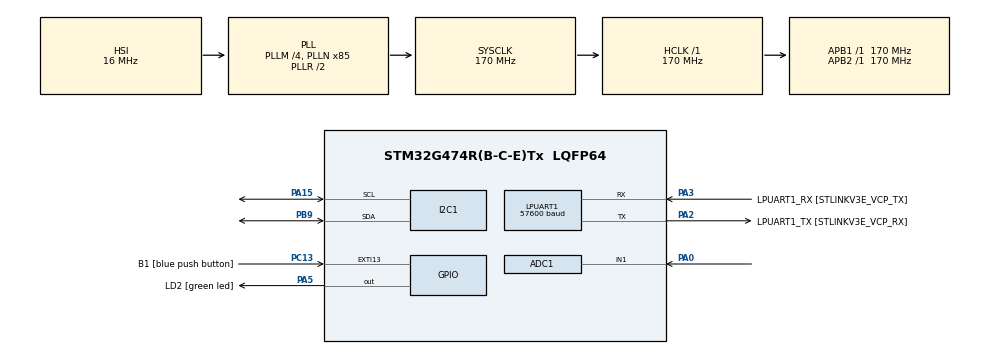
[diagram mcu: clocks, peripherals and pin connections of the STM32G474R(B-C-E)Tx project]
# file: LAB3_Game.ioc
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ADC1.Channel-0\#ChannelRegularConversion=ADC_CHANNEL_1
ADC1.Channel-1\#ChannelRegularConversion=ADC_CHANNEL_1
ADC1.ContinuousConvMode=ENABLE
ADC1.DMAContinuousRequests=ENABLE
ADC1.NbrOfConversion=2
ADC1.NbrOfConversionFlag=1
ADC1.OffsetNumber-0\#ChannelRegularConversion=ADC_OFFSET_NONE
ADC1.OffsetNumber-1\#ChannelRegularConversion=ADC_OFFSET_NONE
ADC1.Rank-0\#ChannelRegularConversion=1
ADC1.Rank-1\#ChannelRegularConversion=2
ADC1.SamplingTime-0\#ChannelRegularConversion=ADC_SAMPLETIME_2CYCLES_5
ADC1.SamplingTime-1\#ChannelRegularConversion=ADC_SAMPLETIME_2CYCLES_5
ADC1.master=1
Dma.ADC1.0.Direction=DMA_PERIPH_TO_MEMORY
Dma.ADC1.0.EventEnable=DISABLE
Dma.ADC1.0.Instance=DMA1_Channel3
Dma.ADC1.0.MemDataAlignment=DMA_MDATAALIGN_HALFWORD
Dma.ADC1.0.MemInc=DMA_MINC_ENABLE
Dma.ADC1.0.Mode=DMA_CIRCULAR
Dma.ADC1.0.PeriphDataAlignment=DMA_PDATAALIGN_HALFWORD
Dma.ADC1.0.PeriphInc=DMA_PINC_DISABLE
Dma.ADC1.0.Polarity=HAL_DMAMUX_REQ_GEN_RISING
Dma.ADC1.0.Priority=DMA_PRIORITY_LOW
Dma.ADC1.0.RequestNumber=1
Dma.ADC1.0.SignalID=NONE
Dma.ADC1.0.SyncEnable=DISABLE
Dma.ADC1.0.SyncPolarity=HAL_DMAMUX_SYNC_NO_EVENT
Dma.ADC1.0.SyncRequestNumber=1
Dma.ADC1.0.SyncSignalID=NONE
Dma.I2C1_RX.1.Direction=DMA_PERIPH_TO_MEMORY
Dma.I2C1_RX.1.EventEnable=DISABLE
Dma.I2C1_RX.1.Instance=DMA1_Channel1
Dma.I2C1_RX.1.MemDataAlignment=DMA_MDATAALIGN_BYTE
Dma.I2C1_RX.1.MemInc=DMA_MINC_ENABLE
Dma.I2C1_RX.1.Mode=DMA_NORMAL
Dma.I2C1_RX.1.PeriphDataAlignment=DMA_PDATAALIGN_BYTE
Dma.I2C1_RX.1.PeriphInc=DMA_PINC_DISABLE
Dma.I2C1_RX.1.Polarity=HAL_DMAMUX_REQ_GEN_RISING
Dma.I2C1_RX.1.Priority=DMA_PRIORITY_LOW
Dma.I2C1_RX.1.RequestNumber=1
Dma.I2C1_RX.1.SignalID=NONE
Dma.I2C1_RX.1.SyncEnable=DISABLE
Dma.I2C1_RX.1.SyncPolarity=HAL_DMAMUX_SYNC_NO_EVENT
Dma.I2C1_RX.1.SyncRequestNumber=1
Dma.I2C1_RX.1.SyncSignalID=NONE
Dma.I2C1_TX.2.Direction=DMA_MEMORY_TO_PERIPH
Dma.I2C1_TX.2.EventEnable=DISABLE
Dma.I2C1_TX.2.Instance=DMA1_Channel2
Dma.I2C1_TX.2.MemDataAlignment=DMA_MDATAALIGN_BYTE
Dma.I2C1_TX.2.MemInc=DMA_MINC_ENABLE
Dma.I2C1_TX.2.Mode=DMA_NORMAL
Dma.I2C1_TX.2.PeriphDataAlignment=DMA_PDATAALIGN_BYTE
Dma.I2C1_TX.2.PeriphInc=DMA_PINC_DISABLE
Dma.I2C1_TX.2.Polarity=HAL_DMAMUX_REQ_GEN_RISING
Dma.I2C1_TX.2.Priority=DMA_PRIORITY_LOW
Dma.I2C1_TX.2.RequestNumber=1
Dma.I2C1_TX.2.SignalID=NONE
Dma.I2C1_TX.2.SyncEnable=DISABLE
Dma.I2C1_TX.2.SyncPolarity=HAL_DMAMUX_SYNC_NO_EVENT
Dma.I2C1_TX.2.SyncRequestNumber=1
Dma.I2C1_TX.2.SyncSignalID=NONE
Dma.Request0=ADC1
Dma.Request1=I2C1_RX
Dma.Request2=I2C1_TX
I2C1.Timing=0x30A0A7FB
LPUART1.BaudRate=57600
LPUART1.WordLength=UART_WORDLENGTH_8B
Mcu.Family=STM32G4
Mcu.Name=STM32G474R(B-C-E)Tx
Mcu.Package=LQFP64
NVIC.DMA1_Channel1_IRQn=true\:0\:0\:false\:false\:true\:false\:true\:true
NVIC.DMA1_Channel2_IRQn=true\:0\:0\:false\:false\:true\:false\:true\:true
NVIC.DMA1_Channel3_IRQn=true\:0\:0\:false\:false\:true\:false\:true\:true
NVIC.EXTI15_10_IRQn=true\:0\:0\:false\:false\:true\:true\:true\:true
NVIC.I2C1_ER_IRQn=true\:0\:0\:false\:false\:true\:true\:true\:true
NVIC.I2C1_EV_IRQn=true\:0\:0\:false\:false\:true\:true\:true\:true
NVIC.LPUART1_IRQn=true\:0\:0\:false\:false\:true\:true\:true\:true
NVIC.PriorityGroup=NVIC_PRIORITYGROUP_4
PA0.Mode=IN1-Single-Ended
PA0.Signal=ADC1_IN1
PA13.GPIO_Label=T_SWDIO
PA13.Mode=Serial_Wire
PA13.Signal=SYS_JTMS-SWDIO
PA14.GPIO_Label=T_SWCLK
PA14.Mode=Serial_Wire
PA14.Signal=SYS_JTCK-SWCLK
PA15.Mode=I2C
PA15.Signal=I2C1_SCL
PA2.GPIO_Label=LPUART1_TX [STLINKV3E_VCP_RX]
PA2.Mode=Asynchronous
PA2.Signal=LPUART1_TX
PA3.GPIO_Label=LPUART1_RX [STLINKV3E_VCP_TX]
PA3.Mode=Asynchronous
PA3.Signal=LPUART1_RX
PA5.GPIO_Label=LD2 [green led]
PA5.Signal=GPIO_Output
PB3.GPIO_Label=T_SWO
PB3.Signal=SYS_JTDO-SWO
PB9.Mode=I2C
PB9.Signal=I2C1_SDA
PC13.GPIO_Label=B1 [blue push button]
PC13.Signal=GPXTI13
PC14-OSC32_IN.Mode=LSE-External-Oscillator
PC14-OSC32_IN.Signal=RCC_OSC32_IN
PC15-OSC32_OUT.Mode=LSE-External-Oscillator
PC15-OSC32_OUT.Signal=RCC_OSC32_OUT
PF0-OSC_IN.Mode=HSE-External-Oscillator
PF0-OSC_IN.Signal=RCC_OSC_IN
PF1-OSC_OUT.Mode=HSE-External-Oscillator
PF1-OSC_OUT.Signal=RCC_OSC_OUT
ProjectManager.HeapSize=0x200
ProjectManager.StackSize=0x400
ProjectManager.TargetToolchain=STM32CubeIDE
RCC.ADC12Freq_Value=170000000
RCC.ADC345Freq_Value=170000000
RCC.AHBFreq_Value=170000000
RCC.APB1Freq_Value=170000000
RCC.APB1TimFreq_Value=170000000
RCC.APB2Freq_Value=170000000
RCC.APB2TimFreq_Value=170000000
RCC.CortexFreq_Value=170000000
RCC.EXTERNAL_CLOCK_VALUE=12288000
RCC.HCLKFreq_Value=170000000
RCC.HSE_VALUE=24000000
RCC.HSI48_VALUE=48000000
RCC.HSI_VALUE=16000000
RCC.PLLM=RCC_PLLM_DIV4
RCC.PLLN=85
RCC.RTCClockSelection=RCC_RTCCLKSOURCE_LSE
RCC.SYSCLKFreq_VALUE=170000000
RCC.SYSCLKSource=RCC_SYSCLKSOURCE_PLLCLK
RCC.USBFreq_Value=170000000
RCC.VCOOutputFreq_Value=340000000
VP_SYS_VS_DBSignals.Mode=DisableDeadBatterySignals
board=NUCLEO-G474RE

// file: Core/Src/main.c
/* USER CODE BEGIN Header */
/**
  ******************************************************************************
  * @file           : main.c
  * @brief          : Main program body
  ******************************************************************************
  * @attention
  *
  * Copyright (c) 2024 STMicroelectronics.
  * All rights reserved.
  *
  * This software is licensed under terms that can be found in the LICENSE file
  * in the root directory of this software component.
  * If no LICENSE file comes with this software, it is provided AS-IS.
  *
  ******************************************************************************
  */
/* USER CODE END Header */
#include "main.h"

/* USER CODE BEGIN PD */
#define EEPROM_ADDR 0b10100000
/* USER CODE END PD */

ADC_HandleTypeDef hadc1;
DMA_HandleTypeDef hdma_adc1;

I2C_HandleTypeDef hi2c1;
DMA_HandleTypeDef hdma_i2c1_rx;
DMA_HandleTypeDef hdma_i2c1_tx;

UART_HandleTypeDef hlpuart1;

/* USER CODE BEGIN PV */
uint8_t eepromExampleWriteFlag = 0;
uint8_t eepromExampleReadFlag = 1;
uint8_t eepromDataReadBack[4];

int I2CRead;
uint8_t A[5];
uint16_t JOY_RawRead[20]={0};
uint8_t header = 0x45;
uint8_t header2 = 0x46;// Header byte
uint8_t parityBit = 0; // Parity bit initialized to 0
uint8_t dataBytes[6]; // Array to hold the bytes of uint16_t and parity bit
uint16_t dataSend = 0;
uint8_t dataBytes2[4]; // Array to hold the bytes of uint16_t and parity bit
uint16_t Score = 0;
uint16_t High_Score = 0;
uint16_t Count;
/* USER CODE END PV */

void SystemClock_Config(void);
static void MX_GPIO_Init(void);
static void MX_DMA_Init(void);
static void MX_LPUART1_UART_Init(void);
static void MX_ADC1_Init(void);
static void MX_I2C1_Init(void);
/* USER CODE BEGIN PFP */
void EEPROMWriteExample();
void EEPROMReadExample(uint8_t *Rdata, uint16_t len);
/* USER CODE END PFP */

int main(void)
{

  /* MCU Configuration--------------------------------------------------------*/

  /* Reset of all peripherals, Initializes the Flash interface and the Systick. */
  HAL_Init();

  /* Configure the system clock */
  SystemClock_Config();

  /* Initialize all configured peripherals */
  MX_GPIO_Init();
  MX_DMA_Init();
  MX_LPUART1_UART_Init();
  MX_ADC1_Init();
  MX_I2C1_Init();
  /* USER CODE BEGIN 2 */
  UARTInterruptConfig();
  HAL_ADC_Start_DMA(&hadc1, JOY_RawRead, 20);
//  EEPROMWriteExample();
  HAL_Delay(1000);
  EEPROMReadExample(eepromDataReadBack, 3);
  HAL_Delay(1000);
  High_Score  = eepromDataReadBack[0];
  /* USER CODE END 2 */

  /* Infinite loop */
  while (1)
  {

    /* USER CODE BEGIN 3 */
	  	  EEPROMReadExample(eepromDataReadBack, 3);
	  	  Score = (A[2]<< 8)+ A[1];
	  	  if(High_Score < Score && Score < 30)
	  	  {
	  		High_Score = Score;
	  		eepromExampleWriteFlag = 1;
	  		EEPROMWriteExample();
	  		Count++;
	  	  }

	  	  static uint64_t timestamp =0;
	 	  if(HAL_GetTick() > timestamp)
	 	  {
	 	  timestamp = HAL_GetTick() + 1;//ms
	 	  dataSend = JOY_RawRead[0];
	 	  dataBytes[0] = header; // Header byte
	 	  dataBytes[1] = (uint8_t)(dataSend & 0xFF); // Lower byte
	 	  dataBytes[2] = (uint8_t)((dataSend >> 8) & 0xFF); // Upper byte
	 	  dataBytes[3] = (uint8_t)(High_Score & 0xFF); // Lower byte
		  dataBytes[4] = (uint8_t)((High_Score >> 8) & 0xFF); // Upper byte
	 	  dataBytes[5] = 0x0A;
	 	  HAL_UART_Transmit(&hlpuart1, dataBytes, sizeof(dataBytes), 5);
	 	  }
  }
  /* USER CODE END 3 */
}

void SystemClock_Config(void)
{
  RCC_OscInitTypeDef RCC_OscInitStruct = {0};
  RCC_ClkInitTypeDef RCC_ClkInitStruct = {0};

  /** Configure the main internal regulator output voltage
  */
  HAL_PWREx_ControlVoltageScaling(PWR_REGULATOR_VOLTAGE_SCALE1_BOOST);

  /** Initializes the RCC Oscillators according to the specified parameters
  * in the RCC_OscInitTypeDef structure.
  */
  RCC_OscInitStruct.OscillatorType = RCC_OSCILLATORTYPE_HSI;
  RCC_OscInitStruct.HSIState = RCC_HSI_ON;
  RCC_OscInitStruct.HSICalibrationValue = RCC_HSICALIBRATION_DEFAULT;
  RCC_OscInitStruct.PLL.PLLState = RCC_PLL_ON;
  RCC_OscInitStruct.PLL.PLLSource = RCC_PLLSOURCE_HSI;
  RCC_OscInitStruct.PLL.PLLM = RCC_PLLM_DIV4;
  RCC_OscInitStruct.PLL.PLLN = 85;
  RCC_OscInitStruct.PLL.PLLP = RCC_PLLP_DIV2;
  RCC_OscInitStruct.PLL.PLLQ = RCC_PLLQ_DIV2;
  RCC_OscInitStruct.PLL.PLLR = RCC_PLLR_DIV2;
  if (HAL_RCC_OscConfig(&RCC_OscInitStruct) != HAL_OK)
  {
    Error_Handler();
  }

  /** Initializes the CPU, AHB and APB buses clocks
  */
  RCC_ClkInitStruct.ClockType = RCC_CLOCKTYPE_HCLK|RCC_CLOCKTYPE_SYSCLK
                              |RCC_CLOCKTYPE_PCLK1|RCC_CLOCKTYPE_PCLK2;
  RCC_ClkInitStruct.SYSCLKSource = RCC_SYSCLKSOURCE_PLLCLK;
  RCC_ClkInitStruct.AHBCLKDivider = RCC_SYSCLK_DIV1;
  RCC_ClkInitStruct.APB1CLKDivider = RCC_HCLK_DIV1;
  RCC_ClkInitStruct.APB2CLKDivider = RCC_HCLK_DIV1;

  if (HAL_RCC_ClockConfig(&RCC_ClkInitStruct, FLASH_LATENCY_4) != HAL_OK)
  {
    Error_Handler();
  }
}

static void MX_ADC1_Init(void)
{

  ADC_MultiModeTypeDef multimode = {0};
  ADC_ChannelConfTypeDef sConfig = {0};

  /** Common config
  */
  hadc1.Instance = ADC1;
  hadc1.Init.ClockPrescaler = ADC_CLOCK_SYNC_PCLK_DIV4;
  hadc1.Init.Resolution = ADC_RESOLUTION_12B;
  hadc1.Init.DataAlign = ADC_DATAALIGN_RIGHT;
  hadc1.Init.GainCompensation = 0;
  hadc1.Init.ScanConvMode = ADC_SCAN_ENABLE;
  hadc1.Init.EOCSelection = ADC_EOC_SINGLE_CONV;
  hadc1.Init.LowPowerAutoWait = DISABLE;
  hadc1.Init.ContinuousConvMode = ENABLE;
  hadc1.Init.NbrOfConversion = 2;
  hadc1.Init.DiscontinuousConvMode = DISABLE;
  hadc1.Init.ExternalTrigConv = ADC_SOFTWARE_START;
  hadc1.Init.ExternalTrigConvEdge = ADC_EXTERNALTRIGCONVEDGE_NONE;
  hadc1.Init.DMAContinuousRequests = ENABLE;
  hadc1.Init.Overrun = ADC_OVR_DATA_PRESERVED;
  hadc1.Init.OversamplingMode = DISABLE;
  if (HAL_ADC_Init(&hadc1) != HAL_OK)
  {
    Error_Handler();
  }

  /** Configure the ADC multi-mode
  */
  multimode.Mode = ADC_MODE_INDEPENDENT;
  if (HAL_ADCEx_MultiModeConfigChannel(&hadc1, &multimode) != HAL_OK)
  {
    Error_Handler();
  }

  /** Configure Regular Channel
  */
  sConfig.Channel = ADC_CHANNEL_1;
  sConfig.Rank = ADC_REGULAR_RANK_1;
  sConfig.SamplingTime = ADC_SAMPLETIME_2CYCLES_5;
  sConfig.SingleDiff = ADC_SINGLE_ENDED;
  sConfig.OffsetNumber = ADC_OFFSET_NONE;
  sConfig.Offset = 0;
  if (HAL_ADC_ConfigChannel(&hadc1, &sConfig) != HAL_OK)
  {
    Error_Handler();
  }

  /** Configure Regular Channel
  */
  sConfig.Rank = ADC_REGULAR_RANK_2;
  if (HAL_ADC_ConfigChannel(&hadc1, &sConfig) != HAL_OK)
  {
    Error_Handler();
  }

}

static void MX_I2C1_Init(void)
{

  hi2c1.Instance = I2C1;
  hi2c1.Init.Timing = 0x30A0A7FB;
  hi2c1.Init.OwnAddress1 = 0;
  hi2c1.Init.AddressingMode = I2C_ADDRESSINGMODE_7BIT;
  hi2c1.Init.DualAddressMode = I2C_DUALADDRESS_DISABLE;
  hi2c1.Init.OwnAddress2 = 0;
  hi2c1.Init.OwnAddress2Masks = I2C_OA2_NOMASK;
  hi2c1.Init.GeneralCallMode = I2C_GENERALCALL_DISABLE;
  hi2c1.Init.NoStretchMode = I2C_NOSTRETCH_DISABLE;
  if (HAL_I2C_Init(&hi2c1) != HAL_OK)
  {
    Error_Handler();
  }

  /** Configure Analogue filter
  */
  if (HAL_I2CEx_ConfigAnalogFilter(&hi2c1, I2C_ANALOGFILTER_ENABLE) != HAL_OK)
  {
    Error_Handler();
  }

  /** Configure Digital filter
  */
  if (HAL_I2CEx_ConfigDigitalFilter(&hi2c1, 0) != HAL_OK)
  {
    Error_Handler();
  }

}

static void MX_LPUART1_UART_Init(void)
{

  hlpuart1.Instance = LPUART1;
  hlpuart1.Init.BaudRate = 57600;
  hlpuart1.Init.WordLength = UART_WORDLENGTH_8B;
  hlpuart1.Init.StopBits = UART_STOPBITS_1;
  hlpuart1.Init.Parity = UART_PARITY_NONE;
  hlpuart1.Init.Mode = UART_MODE_TX_RX;
  hlpuart1.Init.HwFlowCtl = UART_HWCONTROL_NONE;
  hlpuart1.Init.OneBitSampling = UART_ONE_BIT_SAMPLE_DISABLE;
  hlpuart1.Init.ClockPrescaler = UART_PRESCALER_DIV1;
  hlpuart1.AdvancedInit.AdvFeatureInit = UART_ADVFEATURE_NO_INIT;
  if (HAL_UART_Init(&hlpuart1) != HAL_OK)
  {
    Error_Handler();
  }
  if (HAL_UARTEx_SetTxFifoThreshold(&hlpuart1, UART_TXFIFO_THRESHOLD_1_8) != HAL_OK)
  {
    Error_Handler();
  }
  if (HAL_UARTEx_SetRxFifoThreshold(&hlpuart1, UART_RXFIFO_THRESHOLD_1_8) != HAL_OK)
  {
    Error_Handler();
  }
  if (HAL_UARTEx_DisableFifoMode(&hlpuart1) != HAL_OK)
  {
    Error_Handler();
  }

}

static void MX_DMA_Init(void)
{

  /* DMA controller clock enable */
  __HAL_RCC_DMAMUX1_CLK_ENABLE();
  __HAL_RCC_DMA1_CLK_ENABLE();

  /* DMA interrupt init */
  /* DMA1_Channel1_IRQn interrupt configuration */
  HAL_NVIC_SetPriority(DMA1_Channel1_IRQn, 0, 0);
  HAL_NVIC_EnableIRQ(DMA1_Channel1_IRQn);
  /* DMA1_Channel2_IRQn interrupt configuration */
  HAL_NVIC_SetPriority(DMA1_Channel2_IRQn, 0, 0);
  HAL_NVIC_EnableIRQ(DMA1_Channel2_IRQn);
  /* DMA1_Channel3_IRQn interrupt configuration */
  HAL_NVIC_SetPriority(DMA1_Channel3_IRQn, 0, 0);
  HAL_NVIC_EnableIRQ(DMA1_Channel3_IRQn);

}

static void MX_GPIO_Init(void)
{
  GPIO_InitTypeDef GPIO_InitStruct = {0};

  /* GPIO Ports Clock Enable */
  __HAL_RCC_GPIOC_CLK_ENABLE();
  __HAL_RCC_GPIOF_CLK_ENABLE();
  __HAL_RCC_GPIOA_CLK_ENABLE();
  __HAL_RCC_GPIOB_CLK_ENABLE();

  /*Configure GPIO pin Output Level */
  HAL_GPIO_WritePin(LD2_GPIO_Port, LD2_Pin, GPIO_PIN_RESET);

  /*Configure GPIO pin : B1_Pin */
  GPIO_InitStruct.Pin = B1_Pin;
  GPIO_InitStruct.Mode = GPIO_MODE_IT_RISING;
  GPIO_InitStruct.Pull = GPIO_NOPULL;
  HAL_GPIO_Init(B1_GPIO_Port, &GPIO_InitStruct);

  /*Configure GPIO pin : LD2_Pin */
  GPIO_InitStruct.Pin = LD2_Pin;
  GPIO_InitStruct.Mode = GPIO_MODE_OUTPUT_PP;
  GPIO_InitStruct.Pull = GPIO_NOPULL;
  GPIO_InitStruct.Speed = GPIO_SPEED_FREQ_LOW;
  HAL_GPIO_Init(LD2_GPIO_Port, &GPIO_InitStruct);

  /* EXTI interrupt init*/
  HAL_NVIC_SetPriority(EXTI15_10_IRQn, 0, 0);
  HAL_NVIC_EnableIRQ(EXTI15_10_IRQn);

}

/* USER CODE BEGIN 4 */
void UARTInterruptConfig()
{
	HAL_UART_Receive_IT(&hlpuart1, A,4);
}
void HAL_UART_RxCpltCallback(UART_HandleTypeDef *huart)
{

	if(huart == &hlpuart1)
	{
		A[5] = '\0';
		HAL_UART_Receive_IT(&hlpuart1, A, 4);
	}
}
void EEPROMWriteExample() {
if (eepromExampleWriteFlag && hi2c1.State == HAL_I2C_STATE_READY) {
static uint8_t data[4] = { 0x00, 0x02, 0x55, 0xaa };
data[0] = High_Score;
//data[0] = 5;
HAL_I2C_Mem_Write_IT(&hi2c1, EEPROM_ADDR, 0x2C, I2C_MEMADD_SIZE_16BIT,data, 4);

eepromExampleWriteFlag = 0;
}
}
void EEPROMReadExample(uint8_t *Rdata, uint16_t len) {
if (eepromExampleReadFlag && hi2c1.State == HAL_I2C_STATE_READY) {
HAL_I2C_Mem_Read_IT(&hi2c1, EEPROM_ADDR, 0x2c, I2C_MEMADD_SIZE_16BIT,Rdata, len);
eepromExampleReadFlag = 0;
}
}
void HAL_GPIO_EXTI_Callback(uint16_t GPIO_Pin)
{
	if(GPIO_Pin == GPIO_PIN_13)
	{
		eepromExampleWriteFlag = 1;
		High_Score = 0;
		EEPROMWriteExample();
	}
}
/* USER CODE END 4 */

void Error_Handler(void)
{
  __disable_irq();
  while (1)
  {
  }
}
